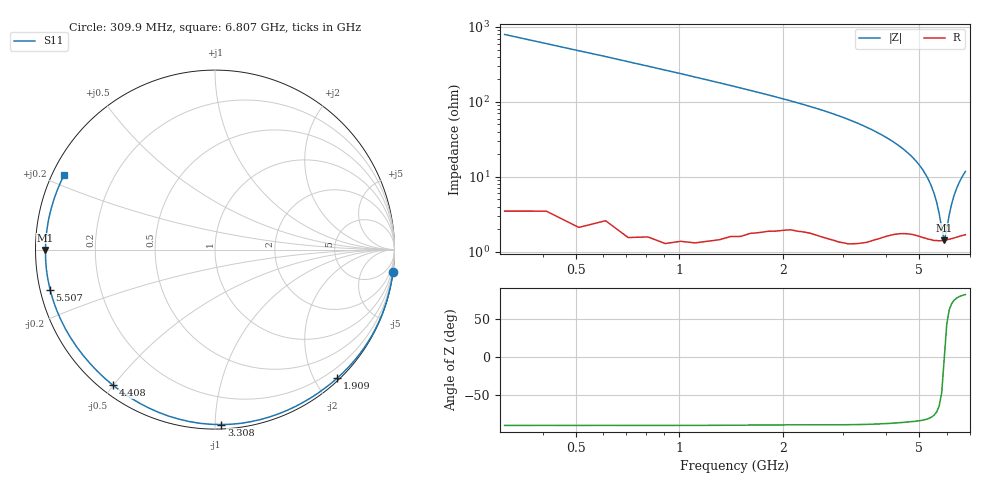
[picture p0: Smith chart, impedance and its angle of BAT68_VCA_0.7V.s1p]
! Infineon Technologies  Discrete & RF Semiconductors
! BAT68
! VCA = 0.7 V
! One-Port S-Parameters
# Hz  S  MA  R  50
!f  S11
!Hz  Mag  Ang
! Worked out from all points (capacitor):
!   66 points, 309.9 MHz to 6.807 GHz, reference 50 ohm
!   read as one part to ground: C = 644 fF near 309.9 MHz
!   lowest |Z| = 1.42 ohm at 5.907 GHz (marker M1)
!   series resonance near 5.91 GHz, so ESL is about 1.1 nH
!   S11 on the Smith chart (normalised r, x): 309.9 MHz: 0, -16; 1.909 GHz: 0.04, -2.33; 3.308 GHz: 0.03, -1.04; 4.408 GHz: 0.03, -0.50; 5.507 GHz: 0.03, -0.12; 6.807 GHz: 0.03, +0.23
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3.0985e8  0.9994 -7.2
5.0975e8  0.9991 -11.9
8.096e8  0.9983 -18.9
1.2094e9  0.9966 -28.6
1.6092e9  0.9923 -38.7
1.90905e9  0.9883 -46.5
2.009e9  0.9868 -49.1
2.30885e9  0.9833 -57.2
2.50875e9  0.9821 -62.8
2.8086e9  0.9806 -71.8
3.10845e9  0.9787 -81.3
3.30835e9  0.9755 -88.0
3.6082e9  0.9688 -98.3
3.8081e9  0.963 -105.4
4.008e9  0.9566 -112.5
4.2079e9  0.9505 -119.7
4.4078e9  0.9457 -126.9
4.6077e9  0.9428 -134.1
4.8076e9  0.9418 -141.3
5.0075e9  0.9425 -148.5
5.2074e9  0.9437 -155.7
5.50725e9  0.9458 -166.4
5.70715e9  0.9458 -173.3
5.90705e9  0.9447 -179.9
6.007e9  0.9439 176.9
6.2069e9  0.9423 170.7
6.4068e9  0.9404 164.8
6.8066e9  0.938 153.7
